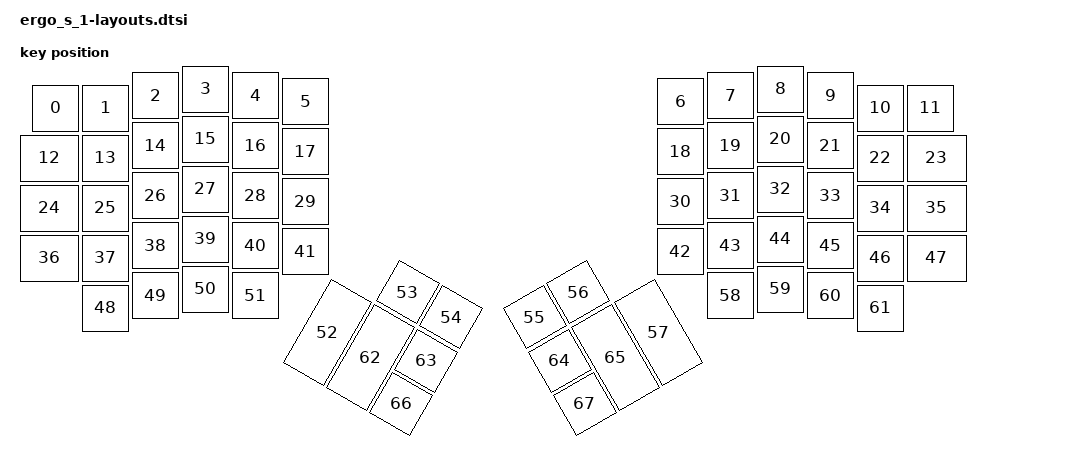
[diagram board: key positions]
#include <physical_layouts.dtsi>

/ {
    physical_layout_ergo_s_1: physical_layout_ergo_s_1 {
        compatible = "zmk,physical-layout";
        display-name = "ERGO S-1";
        keys  //                     w   h    x    y     rot    rx    ry
            = <&key_physical_attrs 100 100   50   38       0    50    38>
            , <&key_physical_attrs 100 100  150   38       0   150    38>
            , <&key_physical_attrs 100 100  250   13       0   250    13>
            , <&key_physical_attrs 100 100  350    0       0   350     0>
            , <&key_physical_attrs 100 100  450   13       0   450    13>
            , <&key_physical_attrs 100 100  550   25       0   550    25>
            , <&key_physical_attrs 100 100 1300   25       0  1300    25>
            , <&key_physical_attrs 100 100 1400   13       0  1400    13>
            , <&key_physical_attrs 100 100 1500    0       0  1500     0>
            , <&key_physical_attrs 100 100 1600   13       0  1600    13>
            , <&key_physical_attrs 100 100 1700   38       0  1700    38>
            , <&key_physical_attrs 100 100 1800   38       0  1800    38>
            , <&key_physical_attrs 125 100   25  138       0    25   138>
            , <&key_physical_attrs 100 100  150  138       0   150   138>
            , <&key_physical_attrs 100 100  250  113       0   250   113>
            , <&key_physical_attrs 100 100  350  100       0   350   100>
            , <&key_physical_attrs 100 100  450  113       0   450   113>
            , <&key_physical_attrs 100 100  550  125       0   550   125>
            , <&key_physical_attrs 100 100 1300  125       0  1300   125>
            , <&key_physical_attrs 100 100 1400  113       0  1400   113>
            , <&key_physical_attrs 100 100 1500  100       0  1500   100>
            , <&key_physical_attrs 100 100 1600  113       0  1600   113>
            , <&key_physical_attrs 100 100 1700  138       0  1700   138>
            , <&key_physical_attrs 125 100 1800  138       0  1800   138>
            , <&key_physical_attrs 125 100   25  238       0    25   238>
            , <&key_physical_attrs 100 100  150  238       0   150   238>
            , <&key_physical_attrs 100 100  250  213       0   250   213>
            , <&key_physical_attrs 100 100  350  200       0   350   200>
            , <&key_physical_attrs 100 100  450  213       0   450   213>
            , <&key_physical_attrs 100 100  550  225       0   550   225>
            , <&key_physical_attrs 100 100 1300  225       0  1300   225>
            , <&key_physical_attrs 100 100 1400  213       0  1400   213>
            , <&key_physical_attrs 100 100 1500  200       0  1500   200>
            , <&key_physical_attrs 100 100 1600  213       0  1600   213>
            , <&key_physical_attrs 100 100 1700  238       0  1700   238>
            , <&key_physical_attrs 125 100 1800  238       0  1800   238>
            , <&key_physical_attrs 125 100   25  338       0    25   338>
            , <&key_physical_attrs 100 100  150  338       0   150   338>
            , <&key_physical_attrs 100 100  250  313       0   250   313>
            , <&key_physical_attrs 100 100  350  300       0   350   300>
            , <&key_physical_attrs 100 100  450  313       0   450   313>
            , <&key_physical_attrs 100 100  550  325       0   550   325>
            , <&key_physical_attrs 100 100 1300  325       0  1300   325>
            , <&key_physical_attrs 100 100 1400  313       0  1400   313>
            , <&key_physical_attrs 100 100 1500  300       0  1500   300>
            , <&key_physical_attrs 100 100 1600  313       0  1600   313>
            , <&key_physical_attrs 100 100 1700  338       0  1700   338>
            , <&key_physical_attrs 125 100 1800  338       0  1800   338>
            , <&key_physical_attrs 100 100  150  438       0   150   438>
            , <&key_physical_attrs 100 100  250  413       0   250   413>
            , <&key_physical_attrs 100 100  350  400       0   350   400>
            , <&key_physical_attrs 100 100  450  413       0   450   413>
            , <&key_physical_attrs 100 200  650  425    3000   650   425>
            , <&key_physical_attrs 100 100  750  325    3000   650   425>
            , <&key_physical_attrs 100 100  850  325    3000   650   425>
            , <&key_physical_attrs 100 100 1000  325 (-3000)  1300   425>
            , <&key_physical_attrs 100 100 1100  325 (-3000)  1300   425>
            , <&key_physical_attrs 100 200 1200  425 (-3000)  1300   425>
            , <&key_physical_attrs 100 100 1400  413       0  1400   413>
            , <&key_physical_attrs 100 100 1500  400       0  1500   400>
            , <&key_physical_attrs 100 100 1600  413       0  1600   413>
            , <&key_physical_attrs 100 100 1700  438       0  1700   438>
            , <&key_physical_attrs 100 200  750  425    3000   650   425>
            , <&key_physical_attrs 100 100  850  425    3000   650   425>
            , <&key_physical_attrs 100 100 1000  425 (-3000)  1300   425>
            , <&key_physical_attrs 100 200 1100  425 (-3000)  1300   425>
            , <&key_physical_attrs 100 100  850  525    3000   650   425>
            , <&key_physical_attrs 100 100 1000  525 (-3000)  1300   425>
            ;
    };
};
